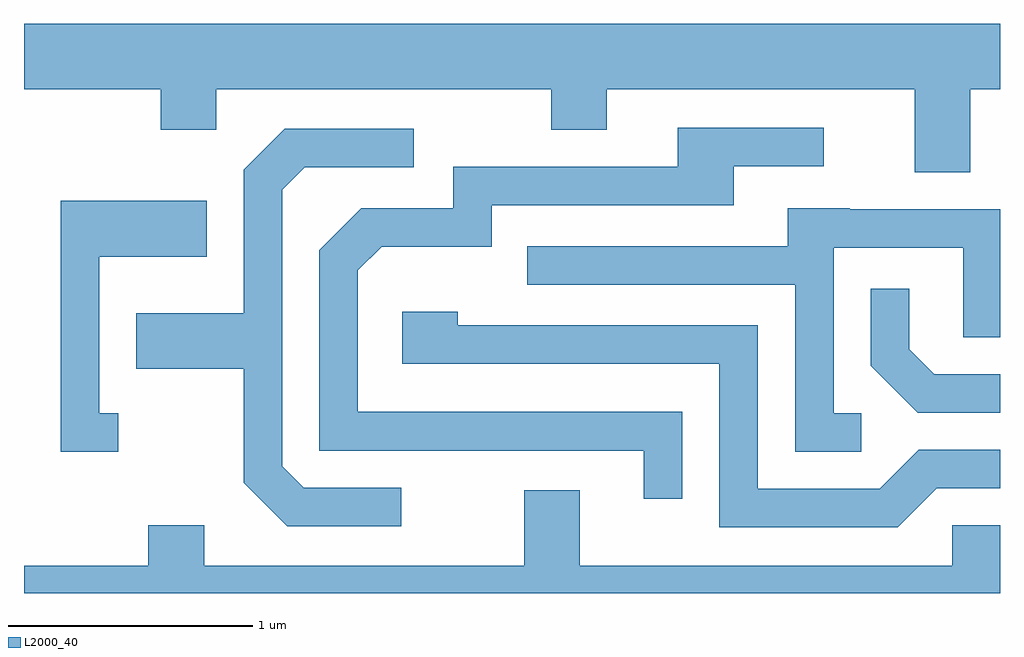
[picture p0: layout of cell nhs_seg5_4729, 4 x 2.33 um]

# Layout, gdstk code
import gdstk
lib = gdstk.Library(unit=1e-6, precision=1e-09)
def P(c, l, *ps):  # polygons
    for p in ps: c.add(gdstk.Polygon(p, *l))
L2000_40 = (2000, 40)

nhs_seg5_4729 = lib.new_cell('nhs_seg5_4729')
P(nhs_seg5_4729, L2000_40, [(325.611,1450.136),(326.171,1450.136),(326.171,1449.971),(326.399,1449.971),(326.399,1450.136),(327.771,1450.136),(327.771,1449.971),(327.999,1449.971),(327.999,1450.136),(329.261,1450.136),(329.261,1449.796),(329.489,1449.796),(329.489,1450.136),(329.611,1450.136),(329.611,1450.404),(325.611,1450.404)],
  [(328.309,1448.814),(326.979,1448.814),(326.979,1449.394),(327.077,1449.491),(327.529,1449.491),(327.529,1449.661),(328.519,1449.661),(328.519,1449.821),(328.888,1449.821),(328.888,1449.979),(328.291,1449.979),(328.291,1449.819),(327.371,1449.819),(327.371,1449.649),(326.994,1449.649),(326.821,1449.477),(326.821,1448.656),(328.151,1448.656),(328.151,1448.458),(328.309,1448.458)],
  [(327.158,1448.504),(326.757,1448.504),(326.669,1448.592),(326.669,1449.724),(326.762,1449.816),(327.208,1449.816),(327.208,1449.974),(326.679,1449.974),(326.511,1449.807),(326.511,1449.219),(326.071,1449.219),(326.071,1448.991),(326.511,1448.991),(326.511,1448.524),(326.689,1448.346),(327.158,1448.346)],
  [(325.998,1448.809),(325.919,1448.809),(325.919,1449.451),(326.359,1449.451),(326.359,1449.679),(325.761,1449.679),(325.761,1448.651),(325.998,1448.651)],
  [(329.043,1448.809),(328.929,1448.809),(328.929,1449.486),(329.461,1449.486),(329.461,1449.121),(329.611,1449.121),(329.611,1449.644),(328.995,1449.644),(328.995,1449.649),(328.741,1449.649),(328.741,1449.494),(327.673,1449.494),(327.673,1449.336),(328.771,1449.336),(328.771,1448.651),(329.043,1448.651)],
  [(329.611,1448.969),(329.342,1448.969),(329.239,1449.072),(329.239,1449.318),(329.081,1449.318),(329.081,1449.004),(329.274,1448.811),(329.611,1448.811)],
  [(329.352,1448.501),(329.611,1448.501),(329.611,1448.659),(329.279,1448.659),(329.119,1448.499),(328.619,1448.499),(328.619,1449.169),(327.389,1449.169),(327.389,1449.224),(327.161,1449.224),(327.161,1449.011),(328.461,1449.011),(328.461,1448.341),(329.192,1448.341)],
  [(329.611,1448.349),(329.416,1448.349),(329.416,1448.184),(327.889,1448.184),(327.889,1448.494),(327.661,1448.494),(327.661,1448.184),(326.349,1448.184),(326.349,1448.349),(326.121,1448.349),(326.121,1448.184),(325.611,1448.184),(325.611,1448.072),(329.611,1448.072)])

lib.write_gds('nhs_seg5_4729.gds')
